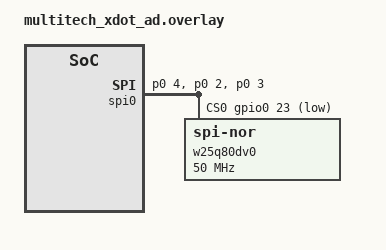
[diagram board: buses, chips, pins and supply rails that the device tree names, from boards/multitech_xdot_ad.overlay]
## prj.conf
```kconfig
CONFIG_STDOUT_CONSOLE=y
CONFIG_FLASH=y
CONFIG_SPI=y
CONFIG_SPI_NOR=y

CONFIG_LOG=y
# CONFIG_SPI_LOG_LEVEL_DBG=y
# CONFIG_FLASH_LOG_LEVEL_DBG=n
CONFIG_LOG_MODE_IMMEDIATE=y

# CONFIG_SHELL_MINIMAL=y
CONFIG_SHELL_CMD_BUFF_SIZE=768
CONFIG_SHELL_BACKEND_SERIAL_TX_RING_BUFFER_SIZE=768
CONFIG_SHELL_BACKEND_SERIAL_RX_RING_BUFFER_SIZE=768

CONFIG_SHELL=y
```

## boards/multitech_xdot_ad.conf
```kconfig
# CONFIG_SPI_LOG_LEVEL_DBG=y
```

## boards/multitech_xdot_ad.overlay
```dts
/ {
	chosen {
		zephyr,flash-controller = &w25q80dv0;
	};

	/* These aliases are provided for compatibility with samples */
	aliases {
		flash1 = &w25q80dv0;
	};
};

&spi0 {
	status = "okay";
	pinctrl-0 = <&spi0_sck_p0_4 &spi0_miso_p0_2 &spi0_mosi_p0_3>;
	pinctrl-names = "default";
		
	cs-gpios = <&gpio0 23 GPIO_ACTIVE_LOW>;

	w25q80dv0: w25q80dv@0 {
		compatible = "jedec,spi-nor";
		reg = <0>;
		has-dpd;
		t-enter-dpd = <30000>;
		t-exit-dpd = <30000>;

		size = <0x800000>;

		spi-max-frequency = <50000000>;

		jedec-id = [ef 40 14];
		status = "okay";
		zephyr,deferred-init;
	};
};
```

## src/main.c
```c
/*
 * Copyright (c) 2016 Intel Corporation.
 *
 * SPDX-License-Identifier: Apache-2.0
 */

#include <zephyr/kernel.h>
#include <zephyr/drivers/flash.h>
#include <zephyr/drivers/gpio.h>
#include <zephyr/device.h>
#include <zephyr/devicetree.h>
#include <stdio.h>
#include <string.h>

#if defined(CONFIG_BOARD_MULTITECH_XDOT_AD)
#include <zephyr/pm/device.h>
#include <zephyr/pm/device_runtime.h>
#endif

#if defined(CONFIG_BOARD_ADAFRUIT_FEATHER_STM32F405)
#define SPI_FLASH_TEST_REGION_OFFSET 0xf000
#elif defined(CONFIG_BOARD_ARTY_A7_DESIGNSTART_FPGA_CORTEX_M1) || \
	defined(CONFIG_BOARD_ARTY_A7_DESIGNSTART_FPGA_CORTEX_M3)
/* The FPGA bitstream is stored in the lower 536 sectors of the flash. */
#define SPI_FLASH_TEST_REGION_OFFSET \
	DT_REG_SIZE(DT_NODE_BY_FIXED_PARTITION_LABEL(fpga_bitstream))
#elif defined(CONFIG_BOARD_NPCX9M6F_EVB) || \
	defined(CONFIG_BOARD_NPCX7M6FB_EVB)
#define SPI_FLASH_TEST_REGION_OFFSET 0x7F000
#else
#define SPI_FLASH_TEST_REGION_OFFSET 0x00000
#endif

#define SPI_FLASH_SECTOR_SIZE        0x10000

#define SPI_FLASH_MULTI_SECTOR_TEST

#if defined(CONFIG_FLASH_STM32_OSPI) || \
	defined(CONFIG_FLASH_STM32_QSPI) || \
	defined(CONFIG_FLASH_STM32_XSPI)
#define SPI_FLASH_MULTI_SECTOR_TEST
#endif

#if DT_HAS_COMPAT_STATUS_OKAY(jedec_spi_nor)
#define SPI_FLASH_COMPAT jedec_spi_nor
#else
#define SPI_FLASH_COMPAT invalid
#endif

const uint8_t erased[] = { 0xff, 0xff, 0xff, 0xff };

void single_sector_test(const struct device *flash_dev)
{
	const uint8_t expected[] = { 0x55, 0xaa, 0x66, 0x99 };
	const size_t len = sizeof(expected);
	uint8_t buf[sizeof(expected)];
	int rc;

	k_sleep(K_MSEC(1000));

	printf("\nTEST OFFSET: %d SECTOR SIZE: %d\r\n", SPI_FLASH_TEST_REGION_OFFSET, SPI_FLASH_SECTOR_SIZE);

	printf("\nPerform test on single sector");
	/* Write protection needs to be disabled before each write or
	 * erase, since the flash component turns on write protection
	 * automatically after completion of write and erase
	 * operations.
	 */
	printf("\nTest 1: Flash erase\n");

	/* Full flash erase if SPI_FLASH_TEST_REGION_OFFSET = 0 and
	 * SPI_FLASH_SECTOR_SIZE = flash size
	 */
	rc = flash_erase(flash_dev, SPI_FLASH_TEST_REGION_OFFSET,
			 SPI_FLASH_SECTOR_SIZE);
	if (rc != 0) {
		printf("Flash erase failed! %d\n", rc);
	} else {
		/* Check erased pattern */
		memset(buf, 0, len);
		rc = flash_read(flash_dev, SPI_FLASH_TEST_REGION_OFFSET, buf, len);
		if (rc != 0) {
			printf("Flash read failed! %d\n", rc);
			return;
		}
		if (memcmp(erased, buf, len) != 0) {
			printf("Flash erase failed at offset 0x%x got 0x%x\n",
				SPI_FLASH_TEST_REGION_OFFSET, *(uint32_t *)buf);
			return;
		}
		printf("Flash erase succeeded!\n");
	}
	printf("\nTest 2: Flash write\n");

	printf("Attempting to write %zu bytes\n", len);
	rc = flash_write(flash_dev, SPI_FLASH_TEST_REGION_OFFSET, expected, len);
	if (rc != 0) {
		printf("Flash write failed! %d\n", rc);
		return;
	}

	memset(buf, 0, len);
	rc = flash_read(flash_dev, SPI_FLASH_TEST_REGION_OFFSET, buf, len);
	if (rc != 0) {
		printf("Flash read failed! %d\n", rc);
		return;
	}

	if (memcmp(expected, buf, len) == 0) {
		printf("Data read matches data written. Good!!\n");
	} else {
		const uint8_t *wp = expected;
		const uint8_t *rp = buf;
		const uint8_t *rpe = rp + len;

		printf("Data read does not match data written!!\n");
		while (rp < rpe) {
			printf("%08x wrote %02x read %02x %s\n",
			       (uint32_t)(SPI_FLASH_TEST_REGION_OFFSET + (rp - buf)),
			       *wp, *rp, (*rp == *wp) ? "match" : "MISMATCH");
			++rp;
			++wp;
		}
	}
}

#if defined SPI_FLASH_MULTI_SECTOR_TEST
void multi_sector_test(const struct device *flash_dev)
{
	const uint8_t expected[] = { 0x55, 0xaa, 0x66, 0x99 };
	const size_t len = sizeof(expected);
	uint8_t buf[sizeof(expected)];
	int rc;

	printf("\nPerform test on multiple consecutive sectors");

	/* Write protection needs to be disabled before each write or
	 * erase, since the flash component turns on write protection
	 * automatically after completion of write and erase
	 * operations.
	 */
	printf("\nTest 1: Flash erase\n");

	/* Full flash erase if SPI_FLASH_TEST_REGION_OFFSET = 0 and
	 * SPI_FLASH_SECTOR_SIZE = flash size
	 * Erase 2 sectors for check for erase of consequtive sectors
	 */
	rc = flash_erase(flash_dev, SPI_FLASH_TEST_REGION_OFFSET, SPI_FLASH_SECTOR_SIZE * 2);
	if (rc != 0) {
		printf("Flash erase failed! %d\n", rc);
	} else {
		/* Read the content and check for erased */
		memset(buf, 0, len);
		size_t offs = SPI_FLASH_TEST_REGION_OFFSET;

		while (offs < SPI_FLASH_TEST_REGION_OFFSET + 2 * SPI_FLASH_SECTOR_SIZE) {
			rc = flash_read(flash_dev, offs, buf, len);
			if (rc != 0) {
				printf("Flash read failed! %d\n", rc);
				return;
			}
			if (memcmp(erased, buf, len) != 0) {
				printf("Flash erase failed at offset 0x%x got 0x%x\n",
				offs, *(uint32_t *)buf);
				return;
			}
			offs += SPI_FLASH_SECTOR_SIZE;
		}
		printf("Flash erase succeeded!\n");
	}

	printf("\nTest 2: Flash write\n");

	size_t offs = SPI_FLASH_TEST_REGION_OFFSET;

	while (offs < SPI_FLASH_TEST_REGION_OFFSET + 2 * SPI_FLASH_SECTOR_SIZE) {
		printf("Attempting to write %zu bytes at offset 0x%x\n", len, offs);
		rc = flash_write(flash_dev, offs, expected, len);
		if (rc != 0) {
			printf("Flash write failed! %d\n", rc);
			return;
		}

		memset(buf, 0, len);
		rc = flash_read(flash_dev, offs, buf, len);
		if (rc != 0) {
			printf("Flash read failed! %d\n", rc);
			return;
		}

		if (memcmp(expected, buf, len) == 0) {
			printf("Data read matches data written. Good!!\n");
		} else {
			const uint8_t *wp = expected;
			const uint8_t *rp = buf;
			const uint8_t *rpe = rp + len;

			printf("Data read does not match data written!!\n");
			while (rp < rpe) {
				printf("%08x wrote %02x read %02x %s\n",
					(uint32_t)(offs + (rp - buf)),
					*wp, *rp, (*rp == *wp) ? "match" : "MISMATCH");
				++rp;
				++wp;
			}
		}
		offs += SPI_FLASH_SECTOR_SIZE;
	}
}
#endif



int main(void)
{
	const struct device *flash_dev = DEVICE_DT_GET(DT_ALIAS(flash1));


#if defined(CONFIG_BOARD_MULTITECH_XDOT_AD)
	const struct device *const mem_pwr_en = DEVICE_DT_GET(DT_NODELABEL(mem_pwr_en));

	pm_device_runtime_get(mem_pwr_en);

	if (pm_device_is_powered(mem_pwr_en)) {
		printk("Internal EEPROM/FLASH is ON\n");
	} else {
		printk("Internal EEPROM/FLASH is OFF\n");
	}

	k_sleep(K_MSEC(200));

	device_init(flash_dev);
#endif



	if (!device_is_ready(flash_dev)) {
		printk("%s: device not ready.\n", flash_dev->name);
		return 0;
	}

	printf("\n%s SPI flash testing\n", flash_dev->name);
	printf("==========================\n");

	single_sector_test(flash_dev);
#if defined SPI_FLASH_MULTI_SECTOR_TEST
	multi_sector_test(flash_dev);
#endif

#if defined(CONFIG_BOARD_MULTITECH_XDOT_AD)
	// turn off eeprom/flash domain
	pm_device_runtime_put(mem_pwr_en);
#endif

	return 0;
}
```
